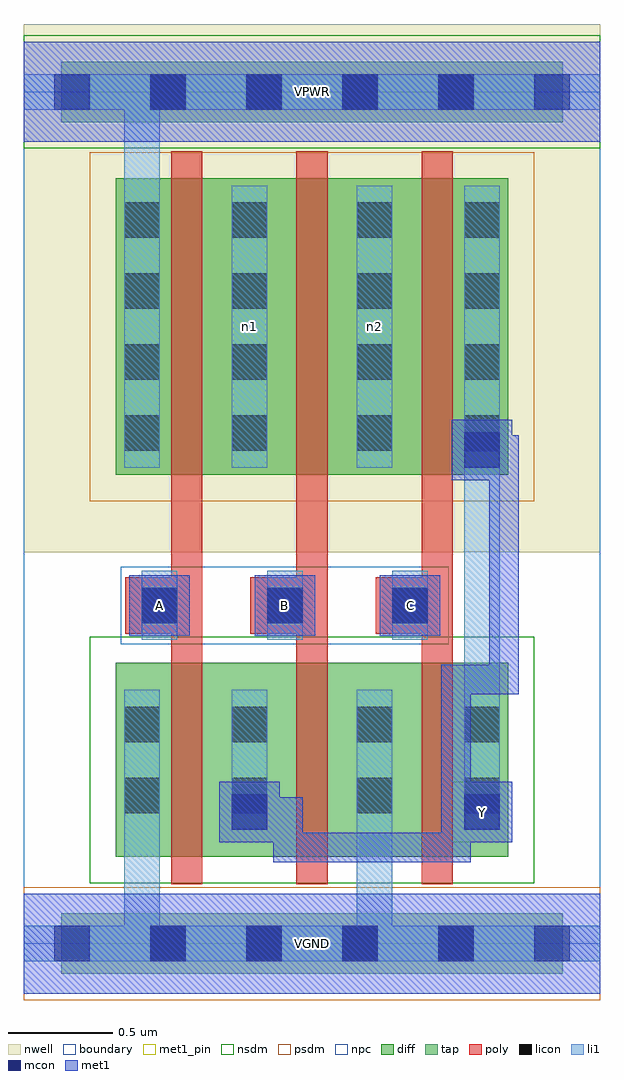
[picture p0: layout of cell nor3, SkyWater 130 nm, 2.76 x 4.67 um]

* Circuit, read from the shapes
.subckt nor3 A B C VGND VPWR Y n1 n2
XM1 Y A VGND VGND sky130_fd_pr__nfet_01v8 w=0.93 l=0.15
XM2 VGND B Y VGND sky130_fd_pr__nfet_01v8 w=0.93 l=0.15
XM3 Y C VGND VGND sky130_fd_pr__nfet_01v8 w=0.93 l=0.15
XM4 n1 A VPWR VPWR sky130_fd_pr__pfet_01v8 w=1.42 l=0.15
XM5 n2 B n1 VPWR sky130_fd_pr__pfet_01v8 w=1.42 l=0.15
XM6 Y C n2 VPWR sky130_fd_pr__pfet_01v8 w=1.42 l=0.15
.ends

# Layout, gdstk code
import gdstk
lib = gdstk.Library(unit=1e-6, precision=1e-09)
def R(c, l, rs):  # rectangles x0, y0, x1, y1
    for r in rs: c.add(gdstk.rectangle(r[:2], r[2:], *l))
def A(c, l, x, y, w, h, nx, ny, dx, dy):  # array of equal rectangles
    R(c, l, [(x+i*dx, y+j*dy, x+i*dx+w, y+j*dy+h) for i in range(nx) for j in range(ny)])
nwell = (64, 20)
diff = (65, 20)
tap = (65, 44)
poly = (66, 20)
licon = (66, 44)
li1 = (67, 20)
mcon = (67, 44)
met1_pin = (68, 16)
met1 = (68, 20)
nsdm = (93, 44)
psdm = (94, 20)
npc = (95, 20)
boundary = (235, 4)

nor3 = lib.new_cell('nor3')
R(nor3, nwell, [(0,1.875,2.76,4.405)])
R(nor3, diff, [(0.44,0.415,2.32,1.345), (0.44,2.245,2.32,3.665)])
R(nor3, tap, [(0.18,-0.145,2.58,0.145), (0.18,3.935,2.58,4.225)])
A(nor3, poly, 0.705, 0.285, 0.15, 3.51, 3, 1, 0.6, 0)
A(nor3, poly, 0.485, 1.485, 0.33, 0.27, 3, 1, 0.6, 0)
A(nor3, licon, 0.605, -0.085, 0.17, 0.17, 4, 2, 0.46, 4.08)
A(nor3, licon, 0.565, 1.535, 0.17, 0.17, 3, 1, 0.6, 0)
A(nor3, licon, 0.48, 2.36, 0.17, 0.17, 1, 4, 0, 0.34)
A(nor3, licon, 0.995, 2.36, 0.17, 0.17, 1, 4, 0, 0.34)
A(nor3, licon, 1.595, 2.36, 0.17, 0.17, 1, 4, 0, 0.34)
A(nor3, licon, 2.11, 2.36, 0.17, 0.17, 1, 4, 0, 0.34)
R(nor3, licon, [(0.48,0.625,0.65,0.795), (0.995,0.625,1.165,0.795), (1.595,0.625,1.765,0.795), (2.11,0.625,2.28,0.795), (0.48,0.965,0.65,1.135), (0.995,0.965,1.165,1.135), (1.595,0.965,1.765,1.135), (2.11,0.965,2.28,1.135)])
A(nor3, li1, 0.565, 1.455, 0.17, 0.33, 3, 1, 0.6, 0)
R(nor3, li1, [(0,-0.085,2.76,0.085), (0.48,-0.085,0.65,1.215), (1.595,-0.085,1.765,1.215), (0.48,0.545,0.65,1.215), (0.995,0.545,1.165,1.215), (1.595,0.545,1.765,1.215), (2.11,0.545,2.28,1.215), (2.11,0.545,2.28,3.63), (0.48,2.28,0.65,3.63), (0.48,2.28,0.65,4.165), (0.995,2.28,1.165,3.63), (1.595,2.28,1.765,3.63), (2.11,2.28,2.28,3.63), (0,3.995,2.76,4.165)])
A(nor3, mcon, 0.145, -0.085, 0.17, 0.17, 6, 2, 0.46, 4.08)
A(nor3, mcon, 0.565, 1.535, 0.17, 0.17, 3, 1, 0.6, 0)
R(nor3, mcon, [(0.995,0.545,1.165,0.715), (2.11,0.545,2.28,0.715), (2.11,2.28,2.28,2.45)])
A(nor3, met1_pin, 0.505, 1.475, 0.29, 0.29, 3, 1, 0.6, 0)
R(nor3, met1_pin, [(0,-0.24,2.76,0.24), (2.05,0.485,2.34,0.775), (0,3.84,2.76,4.32)])
A(nor3, met1, 0.505, 1.475, 0.29, 0.29, 3, 1, 0.6, 0)
R(nor3, met1, [(0,-0.24,2.76,0.24), (1.195,0.39,1.335,0.7), (1.195,0.39,2.14,0.53), (2,0.39,2.14,0.7), (2,0.39,2.14,1.335), (0.935,0.485,1.225,0.775), (2.05,0.485,2.34,0.775), (1.01,0.56,1.335,0.7), (2,0.56,2.265,0.7), (2,1.195,2.37,1.335), (2.23,1.195,2.37,2.255), (2.23,2.115,2.37,2.435), (2.05,2.22,2.34,2.51), (2.125,2.295,2.37,2.435), (0,3.84,2.76,4.32)])
R(nor3, nsdm, [(0.315,0.29,2.445,1.47), (0,3.81,2.76,4.35)])
R(nor3, psdm, [(0,-0.27,2.76,0.27), (0.315,2.12,2.445,3.79)])
R(nor3, npc, [(0.465,1.435,2.035,1.805)])
R(nor3, boundary, [(0,0,2.76,4.08)])
nor3.add(gdstk.Label('n1', (1.08,2.955), layer=67, texttype=5))
nor3.add(gdstk.Label('n2', (1.68,2.955), layer=67, texttype=5))
nor3.add(gdstk.Label('A', (0.65,1.62), layer=68, texttype=5))
nor3.add(gdstk.Label('B', (1.25,1.62), layer=68, texttype=5))
nor3.add(gdstk.Label('C', (1.85,1.62), layer=68, texttype=5))
nor3.add(gdstk.Label('Y', (2.195,0.63), layer=68, texttype=5))
nor3.add(gdstk.Label('VPWR', (1.38,4.08), layer=68, texttype=5))
nor3.add(gdstk.Label('VGND', (1.38,0), layer=68, texttype=5))
nor3.add(gdstk.Label('A', (0.65,1.62), layer=68, texttype=16))
nor3.add(gdstk.Label('B', (1.25,1.62), layer=68, texttype=16))
nor3.add(gdstk.Label('C', (1.85,1.62), layer=68, texttype=16))
nor3.add(gdstk.Label('Y', (2.195,0.63), layer=68, texttype=16))
nor3.add(gdstk.Label('VPWR', (1.38,4.08), layer=68, texttype=16))
nor3.add(gdstk.Label('VGND', (1.38,0), layer=68, texttype=16))

lib.write_gds('nor3.gds')
